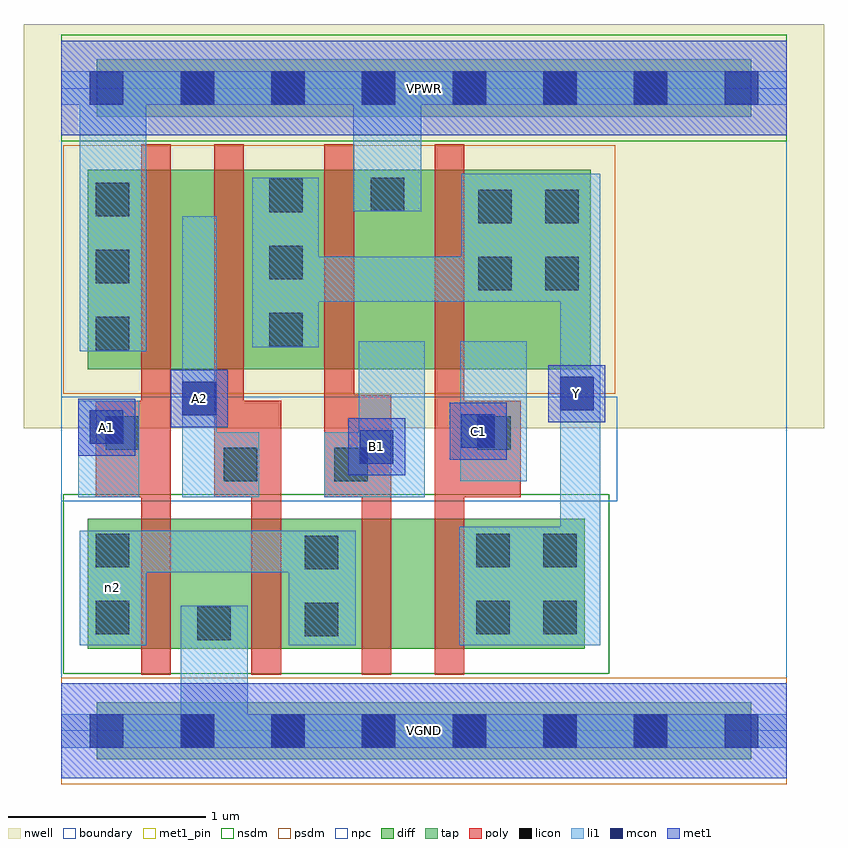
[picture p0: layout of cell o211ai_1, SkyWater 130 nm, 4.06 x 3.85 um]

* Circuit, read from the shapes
.subckt o211ai_1 A1 A2 B1 C1 VGND VPWR Y n2
XM1 VGND A1 n2 VGND sky130_fd_pr__nfet_01v8 w=0.66 l=0.15
XM2 n2 A2 VGND VGND sky130_fd_pr__nfet_01v8 w=0.66 l=0.15
XM3 n1 B1 n2 VGND sky130_fd_pr__nfet_01v8 w=0.66 l=0.15
XM4 Y C1 n1 VGND sky130_fd_pr__nfet_01v8 w=0.66 l=0.15
XM5 n3 A1 VPWR VPWR sky130_fd_pr__pfet_01v8 w=1.01 l=0.15
XM6 Y A2 n3 VPWR sky130_fd_pr__pfet_01v8 w=1.01 l=0.15
XM7 VPWR B1 Y VPWR sky130_fd_pr__pfet_01v8 w=1.01 l=0.15
XM8 Y C1 VPWR VPWR sky130_fd_pr__pfet_01v8 w=1.01 l=0.15
.ends

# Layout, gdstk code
import gdstk
lib = gdstk.Library(unit=1e-6, precision=1e-09)
def R(c, l, rs):  # rectangles x0, y0, x1, y1
    for r in rs: c.add(gdstk.rectangle(r[:2], r[2:], *l))
def A(c, l, x, y, w, h, nx, ny, dx, dy):  # array of equal rectangles
    R(c, l, [(x+i*dx, y+j*dy, x+i*dx+w, y+j*dy+h) for i in range(nx) for j in range(ny)])
nwell = (64, 20)
diff = (65, 20)
tap = (65, 44)
poly = (66, 20)
licon = (66, 44)
li1 = (67, 20)
mcon = (67, 44)
met1_pin = (68, 16)
met1 = (68, 20)
nsdm = (93, 44)
psdm = (94, 20)
npc = (95, 20)
boundary = (235, 4)

o211ai_1 = lib.new_cell('o211ai_1')
R(o211ai_1, nwell, [(-0.19,1.535,3.87,3.585), (0,1.535,3.68,3.585)])
R(o211ai_1, diff, [(0.135,0.415,2.655,1.075), (0.135,1.835,2.685,2.845)])
R(o211ai_1, tap, [(0.18,-0.145,3.5,0.145), (0.18,3.115,3.5,3.405)])
R(o211ai_1, poly, [(0.405,0.285,0.555,2.975), (0.965,0.285,1.115,1.675), (1.525,0.285,1.675,1.705), (1.895,0.285,2.045,2.975), (0.175,1.185,0.555,1.675), (0.775,1.185,0.925,2.975), (0.775,1.185,1.115,1.675), (1.335,1.185,1.485,2.975), (1.335,1.185,1.675,1.705), (1.895,1.185,2.33,1.675)])
A(o211ai_1, licon, 0.605, -0.085, 0.17, 0.17, 6, 2, 0.46, 3.26)
A(o211ai_1, licon, 0.175, 1.93, 0.17, 0.17, 1, 3, 0, 0.34)
A(o211ai_1, licon, 1.055, 1.95, 0.17, 0.17, 1, 3, 0, 0.34)
R(o211ai_1, licon, [(0.69,0.46,0.86,0.63), (1.235,0.48,1.405,0.65), (0.175,0.49,0.345,0.66), (2.105,0.49,2.275,0.66), (2.445,0.49,2.615,0.66), (1.235,0.82,1.405,0.99), (0.175,0.83,0.345,1), (2.105,0.83,2.275,1), (2.445,0.83,2.615,1), (0.825,1.265,0.995,1.435), (1.385,1.265,1.555,1.435), (0.225,1.425,0.395,1.595), (2.11,1.425,2.28,1.595), (2.115,2.235,2.285,2.405), (2.455,2.235,2.625,2.405), (2.115,2.575,2.285,2.745), (2.455,2.575,2.625,2.745), (1.57,2.635,1.74,2.805)])
R(o211ai_1, li1, [(0,-0.085,3.68,0.085), (0.605,-0.085,0.945,0.635), (0.095,0.435,0.43,1.015), (1.155,0.435,1.495,1.015), (2.02,0.435,2.735,1.035), (2.53,0.435,2.735,2.825), (0.095,0.805,1.495,1.015), (0.085,1.185,0.395,1.675), (0.615,1.185,0.79,2.61), (0.615,1.185,1.005,1.515), (1.335,1.185,1.845,1.515), (1.51,1.185,1.845,1.975), (2.025,1.265,2.36,1.975), (0.095,1.925,0.43,3.345), (0.97,1.945,1.305,2.805), (0.97,2.175,2.735,2.405), (2.03,2.175,2.735,2.825), (1.48,2.635,1.825,3.345), (0,3.175,3.68,3.345)])
A(o211ai_1, mcon, 0.145, -0.085, 0.17, 0.17, 8, 2, 0.46, 3.26)
R(o211ai_1, mcon, [(1.515,1.355,1.685,1.525), (2.03,1.435,2.2,1.605), (0.145,1.455,0.315,1.625), (0.615,1.6,0.785,1.77), (2.53,1.625,2.7,1.795)])
R(o211ai_1, met1_pin, [(0,-0.24,3.68,0.24), (1.455,1.295,1.745,1.585), (1.97,1.375,2.26,1.665), (0.085,1.395,0.375,1.685), (0.555,1.54,0.845,1.83), (2.47,1.565,2.76,1.855), (0,3.02,3.68,3.5)])
R(o211ai_1, met1, [(0,-0.24,3.68,0.24), (1.455,1.295,1.745,1.585), (1.97,1.375,2.26,1.665), (0.085,1.395,0.375,1.685), (0.555,1.54,0.845,1.83), (2.47,1.565,2.76,1.855), (0,3.02,3.68,3.5)])
R(o211ai_1, nsdm, [(0.01,0.29,2.78,1.2), (0,2.99,3.68,3.53)])
R(o211ai_1, psdm, [(0,-0.27,3.68,0.27), (0.01,1.71,2.81,2.97)])
R(o211ai_1, npc, [(0,1.165,2.82,1.695)])
R(o211ai_1, boundary, [(0,0,3.68,3.26)])
o211ai_1.add(gdstk.Label('n2', (0.262,0.725), layer=67, texttype=5))
o211ai_1.add(gdstk.Label('A1', (0.23,1.54), layer=68, texttype=5))
o211ai_1.add(gdstk.Label('A2', (0.7,1.685), layer=68, texttype=5))
o211ai_1.add(gdstk.Label('B1', (1.6,1.44), layer=68, texttype=5))
o211ai_1.add(gdstk.Label('C1', (2.115,1.52), layer=68, texttype=5))
o211ai_1.add(gdstk.Label('Y', (2.615,1.71), layer=68, texttype=5))
o211ai_1.add(gdstk.Label('VPWR', (1.84,3.26), layer=68, texttype=5))
o211ai_1.add(gdstk.Label('VGND', (1.84,0), layer=68, texttype=5))
o211ai_1.add(gdstk.Label('A1', (0.23,1.54), layer=68, texttype=16))
o211ai_1.add(gdstk.Label('A2', (0.7,1.685), layer=68, texttype=16))
o211ai_1.add(gdstk.Label('B1', (1.6,1.44), layer=68, texttype=16))
o211ai_1.add(gdstk.Label('C1', (2.115,1.52), layer=68, texttype=16))
o211ai_1.add(gdstk.Label('Y', (2.615,1.71), layer=68, texttype=16))
o211ai_1.add(gdstk.Label('VPWR', (1.84,3.26), layer=68, texttype=16))
o211ai_1.add(gdstk.Label('VGND', (1.84,0), layer=68, texttype=16))

lib.write_gds('o211ai_1.gds')
